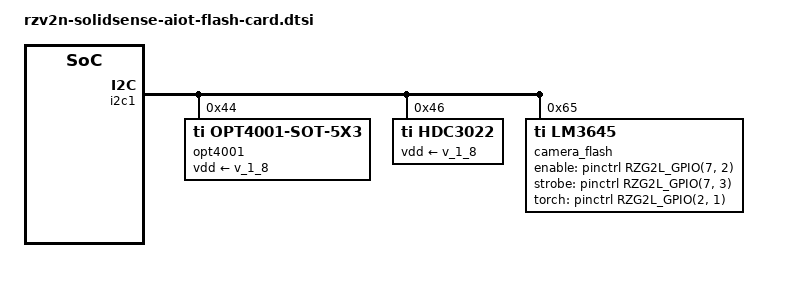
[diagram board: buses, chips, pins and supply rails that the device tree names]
// SPDX-License-Identifier: (GPL-2.0-only OR BSD-2-Clause)
/*
 * SolidSense AIOT Flash Card (J6) devices on carrier I2C1.
 *
 * Shared fragment, included by the flash-card overlays. The including
 * overlay must provide /dts-v1/; /plugin/; and the dt-bindings headers
 * (gpio, leds/common, rzg2l-pinctrl).
 *
 *   - LM3645YCGR  Quad LED flash driver (IR illuminator) @ 0x65
 *   - OPT4001DTSR Ambient Light Sensor                   @ 0x44
 *   - HDC3022DEJR Humidity/Temperature                   @ 0x46
 *
 * Copyright (C) 2026 SolidRun Ltd.
 */

&i2c1 {
	#address-cells = <1>;
	#size-cells = <0>;

	/* OPT4001 Ambient Light Sensor */
	opt4001: light-sensor@44 {
		status = "okay";
		compatible = "ti,opt4001-sot-5x3";
		reg = <0x44>;
		vdd-supply = <&v_1_8>;
	};

	/* HDC3022 Humidity and Temperature Sensor */
	hdc3022: humidity-sensor@46 {
		status = "okay";
		compatible = "ti,hdc3022";
		reg = <0x46>;
		vdd-supply = <&v_1_8>;
	};

	/*
	* LM3645 quad LED flash driver, used as an IR illuminator (4x
	* SFH4722 on D1..D4). Driven by leds-lm3645 over I2C, with hardware
	* flash/torch gating via STR1 and TOR/TX. STR2 (FLASH_TRIG2, P20) is
	* a spare strobe input, left unclaimed.
	*
	* Control signals (LM3645 pin -> carrier net -> RZ/V2N):
	*   HWEN          -> (enable)          -> P72  RZG2L_GPIO(7, 2)
	*   STR1   (B3)   -> FLASH_TRIG1       -> P73  RZG2L_GPIO(7, 3)
	*   STR2   (B4)   -> FLASH_TRIG2       -> P20  RZG2L_GPIO(2, 0)
	*   TOR/TX (C5)   -> FLASH_TOR/TX      -> P21  RZG2L_GPIO(2, 1)
	*/
	camera_flash: led-controller@65 {
		status = "okay";
		compatible = "ti,lm3645";
		reg = <0x65>;

		/* HWEN: driver brings the chip out of hardware shutdown */
		enable-gpios = <&pinctrl RZG2L_GPIO(7, 2) GPIO_ACTIVE_HIGH>;
		/* STR1: hardware flash strobe (FLASH_TRIG1) */
		strobe-gpios = <&pinctrl RZG2L_GPIO(7, 3) GPIO_ACTIVE_HIGH>;
		/* TOR/TX: hardware torch enable (FLASH_TOR/TX) */
		torch-gpios = <&pinctrl RZG2L_GPIO(2, 1) GPIO_ACTIVE_HIGH>;

		led {
			function = LED_FUNCTION_FLASH;
			color = <LED_COLOR_ID_IR>;
			led-max-microamp = <360000>;      /* torch, chip max */
			flash-max-microamp = <1500000>;   /* per output */
			flash-max-timeout-us = <400000>;  /* chip max */
		};
	};
};
